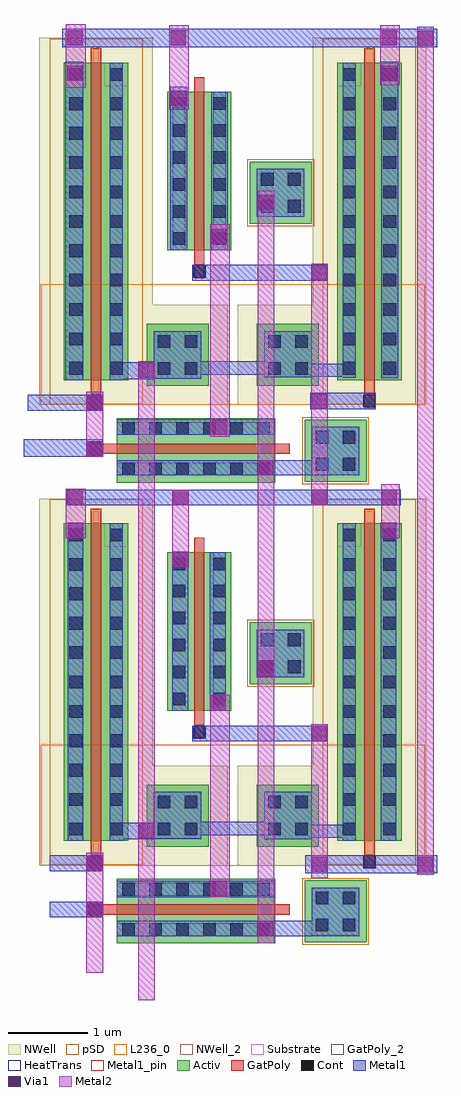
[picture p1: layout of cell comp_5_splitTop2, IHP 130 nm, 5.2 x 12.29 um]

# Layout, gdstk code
from math import pi, radians
import gdstk
lib = gdstk.Library(unit=1e-6, precision=1e-09)
def R(c, l, rs):  # rectangles x0, y0, x1, y1
    for r in rs: c.add(gdstk.rectangle(r[:2], r[2:], *l))
def A(c, l, x, y, w, h, nx, ny, dx, dy):  # array of equal rectangles
    R(c, l, [(x+i*dx, y+j*dy, x+i*dx+w, y+j*dy+h) for i in range(nx) for j in range(ny)])
def P(c, l, *ps):  # polygons
    for p in ps: c.add(gdstk.Polygon(p, *l))
Activ = (1, 0)
GatPoly = (5, 0)
GatPoly_2 = (5, 2)
Cont = (6, 0)
Metal1 = (8, 0)
Metal1_pin = (8, 2)
Metal2 = (10, 0)
pSD = (14, 0)
Via1 = (19, 0)
NWell = (31, 0)
NWell_2 = (31, 2)
Substrate = (40, 0)
HeatTrans = (51, 0)
L236_0 = (236, 0)

ptap = lib.new_cell('ptap')
R(ptap, Activ, [(0,0,0.78,0.78)])
R(ptap, Cont, [(0.14,0.14,0.3,0.3), (0.48,0.14,0.64,0.3), (0.14,0.48,0.3,0.64), (0.48,0.48,0.64,0.64)])
R(ptap, Metal1, [(0.09,0.09,0.69,0.69)])
R(ptap, Metal1_pin, [(0.09,0.09,0.69,0.69)])
R(ptap, pSD, [(-0.03,-0.03,0.81,0.81)])

comp_5_split2_2 = lib.new_cell('comp_5_split2$2')
R(comp_5_split2_2, Activ, [(-3.191,-4.829,-1.191,-4.019), (-0.824,-4.817,-0.044,-4.037), (-3.191,-4.808,-2.891,-4.508), (-2.813,-3.611,-2.033,-2.831), (-1.423,-3.611,-0.643,-2.831), (-3.854,-3.539,-3.044,0.461), (-0.412,-3.539,0.398,0.461), (-2.554,-1.904,-1.744,0.096), (-2.554,-0.204,-2.254,0.096), (-2.044,-0.204,-1.744,0.096), (-3.854,0.161,-3.554,0.461), (-3.344,0.161,-3.044,0.461), (-0.412,0.161,-0.112,0.461), (0.098,0.161,0.398,0.461)])
R(comp_5_split2_2, GatPoly, [(-3.549,-4.468,-1.011,-4.338), (-3.514,-3.925,-3.384,0.641), (-0.072,-3.887,0.058,0.641), (-3.514,-3.719,-3.384,0.641), (-0.072,-3.719,0.058,0.641), (-2.214,-2.255,-2.084,0.276)])
R(comp_5_split2_2, GatPoly_2, [(-3.371,-4.468,-1.011,-4.338), (-2.214,-2.084,-2.084,0.276)])
A(comp_5_split2_2, Cont, -3.121, -4.738, 0.16, 0.16, 6, 2, 0.34, 0.51)
A(comp_5_split2_2, Cont, -3.784, -3.469, 0.16, 0.16, 1, 11, 0, 0.37)
A(comp_5_split2_2, Cont, -3.274, -3.469, 0.16, 0.16, 1, 11, 0, 0.37)
A(comp_5_split2_2, Cont, -0.342, -3.469, 0.16, 0.16, 1, 11, 0, 0.37)
A(comp_5_split2_2, Cont, 0.168, -3.469, 0.16, 0.16, 1, 11, 0, 0.37)
A(comp_5_split2_2, Cont, -2.484, -1.834, 0.16, 0.16, 1, 6, 0, 0.34)
A(comp_5_split2_2, Cont, -1.974, -1.834, 0.16, 0.16, 1, 6, 0, 0.34)
R(comp_5_split2_2, Cont, [(-0.684,-4.677,-0.524,-4.517), (-0.344,-4.677,-0.184,-4.517), (-3.539,-4.483,-3.379,-4.323), (-0.684,-4.337,-0.524,-4.177), (-0.344,-4.337,-0.184,-4.177), (-3.539,-3.906,-3.379,-3.746), (-0.088,-3.882,0.072,-3.722), (-2.673,-3.471,-2.513,-3.311), (-2.333,-3.471,-2.173,-3.311), (-1.283,-3.471,-1.123,-3.311), (-0.943,-3.471,-0.783,-3.311), (-2.673,-3.131,-2.513,-2.971), (-2.333,-3.131,-2.173,-2.971), (-1.283,-3.131,-1.123,-2.971), (-0.943,-3.131,-0.783,-2.971), (-2.23,-2.247,-2.07,-2.087)])
R(comp_5_split2_2, Metal1, [(-3.191,-4.739,-0.742,-4.543), (-0.742,-4.739,-0.134,-4.543), (-0.734,-4.738,-0.134,-4.127), (-4.033,-4.504,-3.368,-4.305), (-3.567,-4.504,-3.368,-4.305), (-3.191,-4.248,-1.191,-4.043), (-0.818,-3.947,0.844,-3.722), (-4.033,-3.924,-3.368,-3.72), (-3.562,-3.922,-3.368,-3.72), (-3.808,-3.539,-3.608,0.468), (-3.808,-3.539,-3.611,0.461), (-3.784,-3.539,-3.624,0.461), (0.134,-3.539,0.328,0.467), (0.168,-3.539,0.328,0.461), (-2.238,-2.287,-0.541,-2.087), (-2.487,-1.904,-2.289,0.102), (-2.015,-1.904,-1.814,0.096), (-3.823,0.689,0.386,0.881)])
P(comp_5_split2_2, Metal1, [(-3.274,-3.539),(-3.274,0.461),(-3.114,0.461),(-3.114,-3.314),(-2.723,-3.314),(-2.723,-2.921),(-2.123,-2.921),(-2.123,-3.299),(-1.333,-3.299),(-1.333,-2.921),(-0.733,-2.921),(-0.733,-3.334),(-0.342,-3.334),(-0.342,0.461),(-0.182,0.461),(-0.182,-3.539),(-0.342,-3.539),(-0.342,-3.499),(-0.733,-3.499),(-0.733,-3.521),(-1.333,-3.521),(-1.333,-3.471),(-2.123,-3.471),(-2.123,-3.521),(-2.723,-3.521),(-2.723,-3.516),(-3.114,-3.516),(-3.114,-3.539)])
R(comp_5_split2_2, Metal1_pin, [(-3.191,-4.738,-1.191,-4.578), (-0.734,-4.727,-0.134,-4.127), (-3.191,-4.228,-1.191,-4.068), (-2.723,-3.521,-2.123,-2.921), (-1.333,-3.521,-0.733,-2.921), (-2.487,-1.904,-2.289,0.102), (-1.974,-1.904,-1.814,0.096)])
R(comp_5_split2_2, Metal2, [(-3.571,-5.202,-3.361,-3.687), (-1.415,-4.831,-1.205,-1.255), (-2.013,-4.252,-1.765,-1.701), (-0.741,-4.013,-0.531,-2.068), (-2.489,-0.096,-2.28,0.884), (-3.83,0.273,-3.582,0.892), (0.144,0.273,0.374,0.95)])
R(comp_5_split2_2, pSD, [(-0.854,-4.847,-0.014,-4.007), (-4.034,-3.839,-2.864,0.761), (-0.592,-3.839,0.578,0.761)])
R(comp_5_split2_2, Via1, [(-1.406,-4.738,-1.216,-4.548), (-3.562,-4.499,-3.372,-4.309), (-1.987,-4.239,-1.797,-4.049), (-0.732,-3.93,-0.542,-3.74), (-3.56,-3.92,-3.37,-3.73), (-0.735,-2.282,-0.545,-2.092), (-2.009,-1.899,-1.819,-1.709), (-1.403,-1.464,-1.213,-1.274), (-2.486,-0.089,-2.296,0.101), (-3.804,0.276,-3.614,0.466), (0.136,0.276,0.326,0.466), (-2.475,0.69,-2.285,0.88), (-3.809,0.691,-3.619,0.881), (0.147,0.691,0.337,0.881)])
R(comp_5_split2_2, NWell, [(-3.053,-3.851,-1.793,-2.591), (-1.663,-3.851,-0.403,-2.591), (-4.164,-3.849,-2.734,0.771), (-0.722,-3.849,0.708,0.771)])
R(comp_5_split2_2, NWell_2, [(-1.423,-3.611,-0.643,-2.831)])
R(comp_5_split2_2, Substrate, [(-3.344,0.161,-3.044,0.461), (-0.412,0.161,-0.112,0.461)])
R(comp_5_split2_2, HeatTrans, [(-3.371,-4.468,-1.011,-4.338), (-3.514,-3.719,-3.384,0.641), (-0.072,-3.719,0.058,0.641), (-2.214,-2.084,-2.084,0.276)])
R(comp_5_split2_2, L236_0, [(-4.147,-3.851,-1.479,-2.331), (-1.977,-3.851,0.691,-2.331)])
comp_5_split2_2.add(gdstk.Reference(ptap, (-0.735,-0.788), rotation=pi))
comp_5_split2_2.add(gdstk.Label('nmos', (-2.191,-4.403), layer=51, texttype=0))
comp_5_split2_2.add(gdstk.Label('nmos', (-2.149,-0.904), layer=51, texttype=0))
comp_5_split2_2.add(gdstk.Label('pmos', (-3.449,-1.539), layer=51, texttype=0))
comp_5_split2_2.add(gdstk.Label('pmos', (-0.007,-1.539), layer=51, texttype=0))
comp_5_split2_2.add(gdstk.Label('well', (-2.813,-2.831), layer=63, texttype=0))
comp_5_split2_2.add(gdstk.Label('well', (-0.643,-2.831), layer=63, texttype=0))
comp_5_split2_2.add(gdstk.Label('pmos', (-3.449,-1.539), layer=63, texttype=0))
comp_5_split2_2.add(gdstk.Label('pmos', (-0.007,-1.539), layer=63, texttype=0))
comp_5_split2_2.add(gdstk.Label('[@instanceName]', (-2.813,-3.091), layer=236, texttype=1))
comp_5_split2_2.add(gdstk.Label('[@instanceName]', (-0.643,-3.091), layer=236, texttype=1))

comp_5_split2 = lib.new_cell('comp_5_split2')
R(comp_5_split2, Activ, [(-3.191,-4.829,-1.191,-4.019), (-0.824,-4.817,-0.044,-4.037), (-3.191,-4.808,-2.891,-4.508), (-2.813,-3.611,-2.033,-2.831), (-1.423,-3.611,-0.643,-2.831), (-3.854,-3.539,-3.044,0.461), (-0.412,-3.539,0.398,0.461), (-2.554,-1.904,-1.744,0.096), (-2.554,-0.204,-2.254,0.096), (-2.044,-0.204,-1.744,0.096), (-3.854,0.161,-3.554,0.461), (-3.344,0.161,-3.044,0.461), (-0.412,0.161,-0.112,0.461), (0.098,0.161,0.398,0.461)])
R(comp_5_split2, GatPoly, [(-3.558,-4.494,-3.373,-4.314), (-3.549,-4.468,-1.011,-4.338), (-3.514,-3.925,-3.384,0.641), (-0.072,-3.887,0.058,0.641), (-3.514,-3.719,-3.384,0.641), (-0.072,-3.719,0.058,0.641), (-2.214,-2.255,-2.084,0.276)])
R(comp_5_split2, GatPoly_2, [(-3.371,-4.468,-1.011,-4.338), (-2.214,-2.084,-2.084,0.276)])
A(comp_5_split2, Cont, -3.121, -4.738, 0.16, 0.16, 6, 2, 0.34, 0.51)
A(comp_5_split2, Cont, -3.784, -3.469, 0.16, 0.16, 1, 11, 0, 0.37)
A(comp_5_split2, Cont, -3.274, -3.469, 0.16, 0.16, 1, 11, 0, 0.37)
A(comp_5_split2, Cont, -0.342, -3.469, 0.16, 0.16, 1, 11, 0, 0.37)
A(comp_5_split2, Cont, 0.168, -3.469, 0.16, 0.16, 1, 11, 0, 0.37)
A(comp_5_split2, Cont, -2.484, -1.834, 0.16, 0.16, 1, 6, 0, 0.34)
A(comp_5_split2, Cont, -1.974, -1.834, 0.16, 0.16, 1, 6, 0, 0.34)
R(comp_5_split2, Cont, [(-0.684,-4.677,-0.524,-4.517), (-0.344,-4.677,-0.184,-4.517), (-3.539,-4.483,-3.379,-4.323), (-0.684,-4.337,-0.524,-4.177), (-0.344,-4.337,-0.184,-4.177), (-3.539,-3.906,-3.379,-3.746), (-0.088,-3.882,0.072,-3.722), (-2.673,-3.471,-2.513,-3.311), (-2.333,-3.471,-2.173,-3.311), (-1.283,-3.471,-1.123,-3.311), (-0.943,-3.471,-0.783,-3.311), (-2.673,-3.131,-2.513,-2.971), (-2.333,-3.131,-2.173,-2.971), (-1.283,-3.131,-1.123,-2.971), (-0.943,-3.131,-0.783,-2.971), (-2.23,-2.247,-2.07,-2.087)])
R(comp_5_split2, Metal1, [(-3.191,-4.738,-0.742,-4.545), (-0.742,-4.738,-0.733,-4.545), (-0.734,-4.738,-0.134,-4.127), (-4.358,-4.503,-3.368,-4.284), (-3.566,-4.503,-3.368,-4.301), (-3.191,-4.228,-1.191,-4.031), (-4.31,-3.922,-3.368,-3.72), (-0.752,-3.906,0.072,-3.699), (-3.839,-3.539,-3.611,0.472), (-3.784,-3.539,-3.624,0.461), (0.14,-3.514,0.353,0.47), (0.168,-3.514,0.328,0.461), (0.168,-3.513,0.328,0.461), (-2.238,-2.284,-0.541,-2.087), (-2.512,-1.904,-2.302,0.157), (-2.002,-1.904,-1.791,0.096), (-3.874,0.656,0.845,0.886)])
P(comp_5_split2, Metal1, [(-3.274,-3.539),(-3.274,0.461),(-3.114,0.461),(-3.114,-3.311),(-2.723,-3.311),(-2.723,-2.921),(-2.123,-2.921),(-2.123,-3.299),(-1.333,-3.299),(-1.333,-2.921),(-0.733,-2.921),(-0.733,-3.334),(-0.342,-3.334),(-0.342,0.461),(-0.182,0.461),(-0.182,-3.51),(-0.342,-3.51),(-0.342,-3.499),(-0.733,-3.499),(-0.733,-3.503),(-1.333,-3.503),(-1.333,-3.471),(-2.123,-3.471),(-2.123,-3.521),(-2.723,-3.521),(-2.723,-3.526),(-2.778,-3.526),(-3.114,-3.526),(-3.114,-3.539)])
R(comp_5_split2, Metal1_pin, [(-3.191,-4.738,-1.191,-4.578), (-0.734,-4.727,-0.134,-4.127), (-3.191,-4.228,-1.191,-4.068), (-2.723,-3.521,-2.123,-2.921), (-1.333,-3.503,-0.733,-2.921), (-2.484,-1.904,-2.324,0.096), (-1.974,-1.904,-1.814,0.096)])
R(comp_5_split2, Metal2, [(-1.415,-7.096,-1.205,-1.152), (-0.741,-5.116,-0.531,-2.073), (-3.571,-4.504,-3.361,-3.687), (-2.013,-4.252,-1.765,-1.575), (-2.528,-0.135,-2.28,0.93), (-3.83,0.143,-3.582,0.946), (0.126,0.175,0.374,0.931)])
R(comp_5_split2, pSD, [(-0.854,-4.847,-0.014,-4.007), (-4.034,-3.839,-2.864,0.761), (-0.592,-3.839,0.578,0.761)])
R(comp_5_split2, Via1, [(-1.406,-4.737,-1.216,-4.547), (-3.562,-4.499,-3.372,-4.309), (-1.987,-4.226,-1.797,-4.036), (-3.562,-3.92,-3.372,-3.73), (-0.732,-3.897,-0.542,-3.707), (-0.735,-2.281,-0.545,-2.091), (-1.992,-1.82,-1.802,-1.63), (-1.403,-1.395,-1.213,-1.205), (-2.502,-0.083,-2.312,0.107), (0.152,0.228,0.342,0.418), (-3.815,0.232,-3.625,0.422), (0.147,0.676,0.337,0.866), (-2.507,0.679,-2.317,0.869), (-3.809,0.68,-3.619,0.87)])
R(comp_5_split2, NWell, [(-3.053,-3.851,-1.793,-2.591), (-1.663,-3.851,-0.403,-2.591), (-4.164,-3.849,-2.734,0.771), (-0.722,-3.849,0.708,0.771)])
R(comp_5_split2, NWell_2, [(-1.423,-3.611,-0.643,-2.831)])
R(comp_5_split2, Substrate, [(-3.344,0.161,-3.044,0.461), (-0.412,0.161,-0.112,0.461)])
R(comp_5_split2, HeatTrans, [(-3.371,-4.468,-1.011,-4.338), (-3.514,-3.719,-3.384,0.641), (-0.072,-3.719,0.058,0.641), (-2.214,-2.084,-2.084,0.276)])
R(comp_5_split2, L236_0, [(-4.147,-3.851,-1.479,-2.331), (-1.977,-3.851,0.691,-2.331)])
comp_5_split2.add(gdstk.Reference(ptap, (-0.735,-0.788), rotation=pi))
comp_5_split2.add(gdstk.Label('nmos', (-2.191,-4.403), layer=51, texttype=0))
comp_5_split2.add(gdstk.Label('nmos', (-2.149,-0.904), layer=51, texttype=0))
comp_5_split2.add(gdstk.Label('pmos', (-3.449,-1.539), layer=51, texttype=0))
comp_5_split2.add(gdstk.Label('pmos', (-0.007,-1.539), layer=51, texttype=0))
comp_5_split2.add(gdstk.Label('well', (-2.813,-2.831), layer=63, texttype=0))
comp_5_split2.add(gdstk.Label('well', (-0.643,-2.831), layer=63, texttype=0))
comp_5_split2.add(gdstk.Label('pmos', (-3.449,-1.539), layer=63, texttype=0))
comp_5_split2.add(gdstk.Label('pmos', (-0.007,-1.539), layer=63, texttype=0))
comp_5_split2.add(gdstk.Label('[@instanceName]', (-2.813,-3.091), layer=236, texttype=1))
comp_5_split2.add(gdstk.Label('[@instanceName]', (-0.643,-3.091), layer=236, texttype=1))

comp_5_splittop2 = lib.new_cell('comp_5_splitTop2')
R(comp_5_splittop2, Metal2, [(-2.848,-7.916,-2.638,0.125), (0.662,-6.336,0.872,4.341)])
R(comp_5_splittop2, Via1, [(0.671,-6.304,0.861,-6.114), (-2.839,-5.882,-2.649,-5.692), (-0.662,-1.683,-0.472,-1.493), (-2.836,-0.084,-2.646,0.106), (0.674,4.1,0.864,4.29)])
comp_5_splittop2.add(gdstk.Reference(comp_5_split2_2, (0.07,-2.373)))
comp_5_splittop2.add(gdstk.Reference(comp_5_split2, (0.07,3.427)))

lib.write_gds('comp_5_splitTop2.gds')
